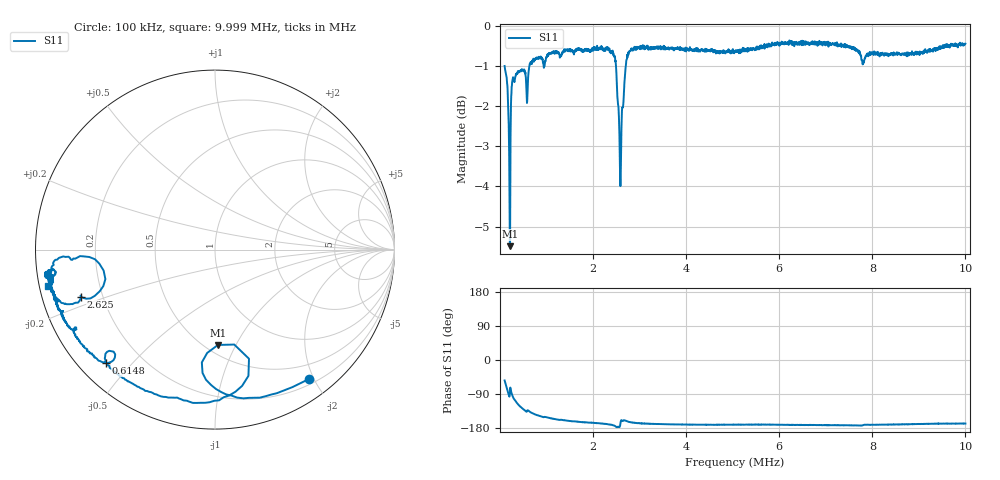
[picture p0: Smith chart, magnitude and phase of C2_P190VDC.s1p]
# HZ S RI R 50
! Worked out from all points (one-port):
!   2020 points, 100 kHz to 9.999 MHz, reference 50 ohm
!   lowest |S11| = -5.5 dB at 212.8 kHz (marker M1), VSWR 3.27, Z = 28.7 - j42.5 ohm
!   |S11| at or under -10 dB: nowhere
!   S11 on the Smith chart (normalised r, x): 100 kHz: 0.28, -1.93; 614.8 kHz: 0.08, -0.42; 2.625 MHz: 0.12, -0.17; 9.999 MHz: 0.03, -0.11
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100000  0.5238 -0.7209
139224  0.2835 -0.8164
163739  0.1237 -0.8247
212769  0.0163 -0.5312
261799  -0.0304 -0.8505
291217  -0.1572 -0.8418
345150  -0.3003 -0.818
423598  -0.4573 -0.7477
516755  -0.5801 -0.6626
614815  -0.6074 -0.6315
707972  -0.7002 -0.5741
855062  -0.7692 -0.4888
1340459  -0.8616 -0.3429
2159260  -0.9134 -0.2053
2424022  -0.9178 -0.1304
2473052  -0.9072 -0.0914
2531888  -0.8026 -0.056
2576015  -0.6686 -0.0538
2625045  -0.7465 -0.2614
2698590  -0.8337 -0.3007
2826068  -0.9037 -0.2493
3816474  -0.9275 -0.1595
5052030  -0.9163 -0.1482
6287586  -0.9414 -0.1403
7528045  -0.9324 -0.1294
7812419  -0.8932 -0.1385
8763601  -0.9121 -0.1642
9999157  -0.9284 -0.2024
